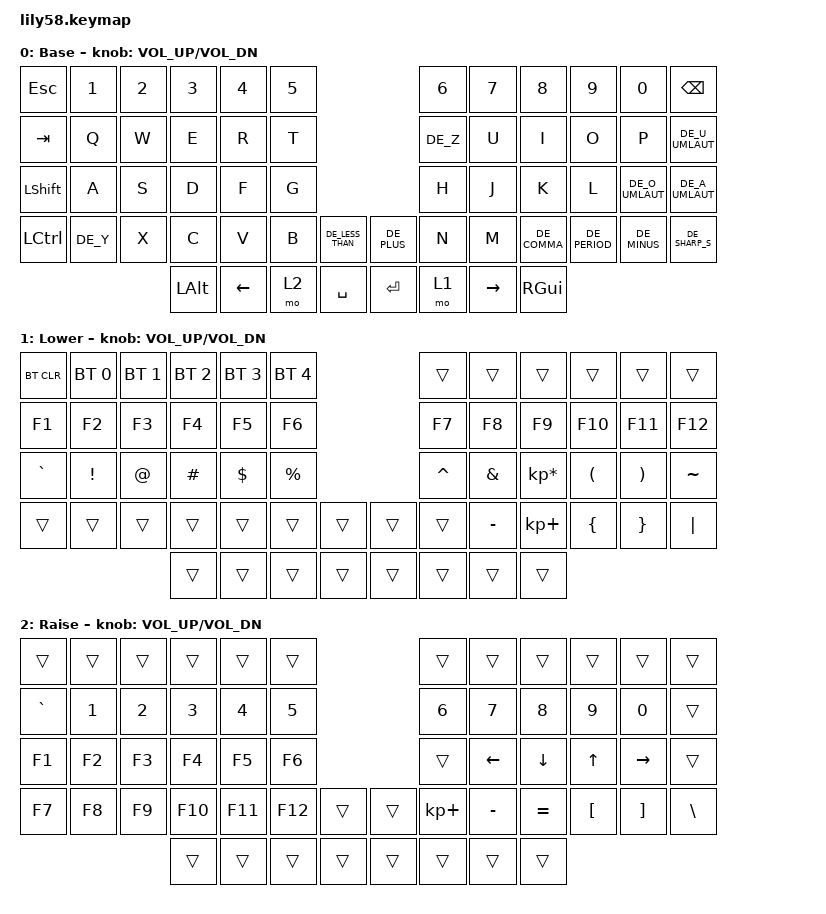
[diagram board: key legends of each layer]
/*
 * Copyright (c) 2020 The ZMK Contributors
 *
 * SPDX-License-Identifier: MIT
 */

#include <behaviors.dtsi>
#include <dt-bindings/zmk/bt.h>
#include <dt-bindings/zmk/keys.h>
#include "keys_de.h"

/ {
    keymap {
        compatible = "zmk,keymap";

        default_layer {
            // ------------------------------------------------------------------------------------------------------------
            // |  ESC  |  1  |  2  |  3   |  4   |  5   |                   |  6   |  7    |  8    |  9   |   0   |   `   |
            // |  TAB  |  Q  |  W  |  E   |  R   |  T   |                   |  Y   |  U    |  I    |  O   |   P   |   -   |
            // |  CTRL |  A  |  S  |  D   |  F   |  G   |                   |  H   |  J    |  K    |  L   |   ;   |   '   |
            // | SHIFT |  Z  |  X  |  C   |  V   |  B   |   "["  |  |  "]"  |  N   |  M    |  ,    |  .   |   /   | SHIFT |
            //                     | ALT  | GUI  | LOWER|  SPACE |  | ENTER | RAISE| BSPC  | GUI   |

            display-name = "Base";
            bindings = <
&kp ESC           &kp N1    &kp N2  &kp N3    &kp N4          &kp N5                                   &kp N6    &kp N7           &kp N8        &kp N9         &kp N0           &kp BACKSPACE
&kp TAB           &kp Q     &kp W   &kp E     &kp R           &kp T                                    &kp DE_Z  &kp U            &kp I         &kp O          &kp P            &kp DE_U_UMLAUT
&kp LEFT_SHIFT    &kp A     &kp S   &kp D     &kp F           &kp G                                    &kp H     &kp J            &kp K         &kp L          &kp DE_O_UMLAUT  &kp DE_A_UMLAUT
&kp LEFT_CONTROL  &kp DE_Y  &kp X   &kp C     &kp V           &kp B   &kp DE_LESS_THAN    &kp DE_PLUS  &kp N     &kp M            &kp DE_COMMA  &kp DE_PERIOD  &kp DE_MINUS     &kp DE_SHARP_S
                                    &kp LALT  &kp LEFT_ARROW  &mo 2   &kp SPACE           &kp RET      &mo 1     &kp RIGHT_ARROW  &kp RGUI
            >;

            sensor-bindings = <&inc_dec_kp C_VOL_UP C_VOL_DN>;
        };

        lower_layer {
            // ------------------------------------------------------------------------------------------------------------
            // | BTCLR | BT1 | BT2 |  BT3 |  BT4 |  BT5 |                   |      |       |       |      |       |       |
            // |  F1   |  F2 |  F3 |  F4  |  F5  |  F6  |                   |  F7  |  F8   |  F9   |  F10 |  F11  |  F12  |
            // |   `   |  !  |  @  |  #   |  $   |  %   |                   |  ^   |  &    |  *    |  (   |   )   |   ~   |
            // |       |     |     |      |      |      |        |  |       |      |  _    |  +    |  {   |   }   |  "|"  |
            //                     |      |      |      |        |  |       |      |       |       |

            display-name = "Lower";
            bindings = <
&bt BT_CLR  &bt BT_SEL 0  &bt BT_SEL 1  &bt BT_SEL 2  &bt BT_SEL 3  &bt BT_SEL 4                    &trans     &trans     &trans           &trans    &trans    &trans
&kp F1      &kp F2        &kp F3        &kp F4        &kp F5        &kp F6                          &kp F7     &kp F8     &kp F9           &kp F10   &kp F11   &kp F12
&kp GRAVE   &kp EXCL      &kp AT        &kp HASH      &kp DOLLAR    &kp PRCNT                       &kp CARET  &kp AMPS   &kp KP_MULTIPLY  &kp LPAR  &kp RPAR  &kp TILDE
&trans      &trans        &trans        &trans        &trans        &trans        &trans    &trans  &trans     &kp MINUS  &kp KP_PLUS      &kp LBRC  &kp RBRC  &kp PIPE
                                        &trans        &trans        &trans        &trans    &trans  &trans     &trans     &trans
            >;

            sensor-bindings = <&inc_dec_kp C_VOL_UP C_VOL_DN>;
        };

        raise_layer {
            // ------------------------------------------------------------------------------------------------------------
            // |       |     |     |      |      |      |                   |      |       |       |      |       |       |
            // |   `   |  1  |  2  |  3   |  4   |  5   |                   |  6   |   7   |   8   |  9   |   0   |       |
            // |   F1  |  F2 |  F3 |  F4  |  F5  |  F6  |                   |      |   <-  |   v   |  ^   |  ->   |       |
            // |   F7  |  F8 |  F9 |  F10 |  F11 |  F12 |        |  |       |  +   |   -   |   =   |  [   |   ]   |   \   |
            //                     |      |      |      |        |  |       |      |       |       |

            display-name = "Raise";
            bindings = <
&trans     &trans  &trans  &trans   &trans   &trans                     &trans       &trans     &trans     &trans    &trans     &trans
&kp GRAVE  &kp N1  &kp N2  &kp N3   &kp N4   &kp N5                     &kp N6       &kp N7     &kp N8     &kp N9    &kp N0     &trans
&kp F1     &kp F2  &kp F3  &kp F4   &kp F5   &kp F6                     &trans       &kp LEFT   &kp DOWN   &kp UP    &kp RIGHT  &trans
&kp F7     &kp F8  &kp F9  &kp F10  &kp F11  &kp F12  &trans    &trans  &kp KP_PLUS  &kp MINUS  &kp EQUAL  &kp LBKT  &kp RBKT   &kp BSLH
                           &trans   &trans   &trans   &trans    &trans  &trans       &trans     &trans
            >;

            sensor-bindings = <&inc_dec_kp C_VOL_UP C_VOL_DN>;
        };

        extra_1 { status = "reserved"; };

        extra_2 { status = "reserved"; };

        extra_3 { status = "reserved"; };
    };
};
